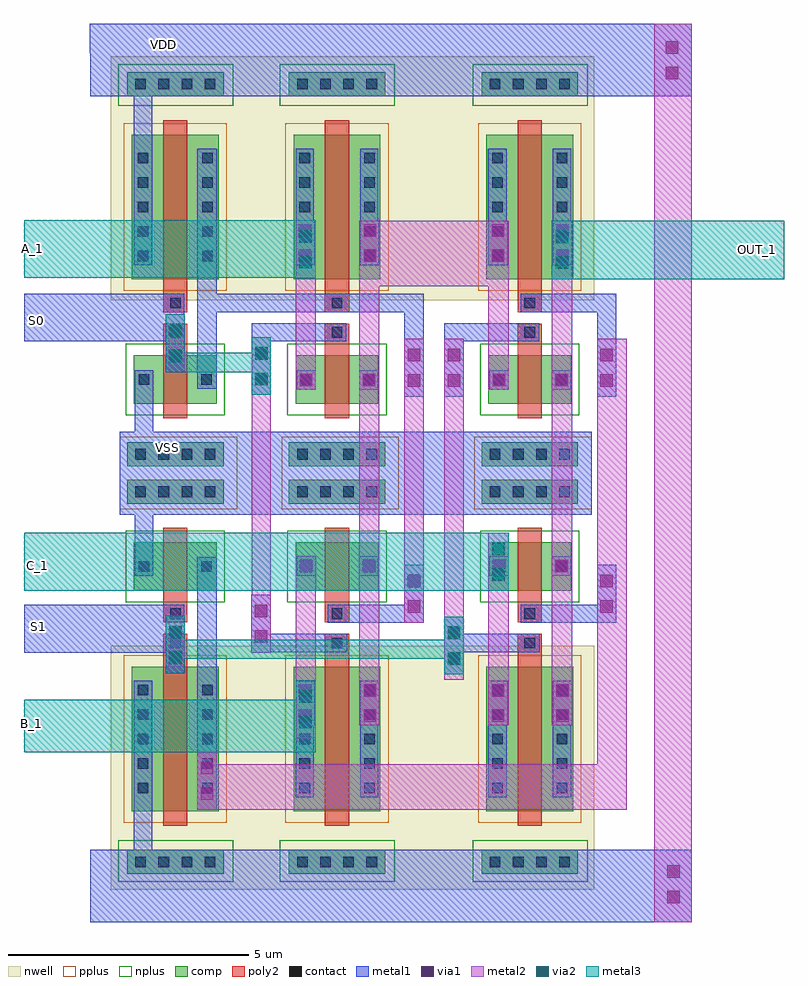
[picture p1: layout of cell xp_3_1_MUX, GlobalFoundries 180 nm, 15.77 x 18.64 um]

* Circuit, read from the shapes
.subckt xp_3_1_MUX A_1 B_1 C_1 OUT_1 S0 S1 VDD VSS
XM1 n1 S1 VSS VSS nfet_03v3 w=1u l=0.5u
XM2 n2 S0 VSS VSS nfet_03v3 w=1u l=0.5u
XM3 n3 n2 B_1 VSS nfet_03v3 w=1u l=0.5u
XM4 n3 S0 A_1 VSS nfet_03v3 w=1u l=0.5u
XM5 OUT_1 n1 C_1 VSS nfet_03v3 w=1u l=0.5u
XM6 OUT_1 S1 n3 VSS nfet_03v3 w=1u l=0.5u
XM7 n1 S1 VDD VDD pfet_03v3 w=3u l=0.5u
XM8 n2 S0 VDD VDD pfet_03v3 w=3u l=0.5u
XM9 n3 S0 B_1 VDD pfet_03v3 w=3u l=0.5u
XM10 n3 n2 A_1 VDD pfet_03v3 w=3u l=0.5u
XM11 OUT_1 S1 C_1 VDD pfet_03v3 w=3u l=0.5u
XM12 OUT_1 n1 n3 VDD pfet_03v3 w=3u l=0.5u
.ends

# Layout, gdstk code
from math import pi, radians
import gdstk
lib = gdstk.Library(unit=1e-6, precision=1e-09)
def R(c, l, rs):  # rectangles x0, y0, x1, y1
    for r in rs: c.add(gdstk.rectangle(r[:2], r[2:], *l))
def A(c, l, x, y, w, h, nx, ny, dx, dy):  # array of equal rectangles
    R(c, l, [(x+i*dx, y+j*dy, x+i*dx+w, y+j*dy+h) for i in range(nx) for j in range(ny)])
def P(c, l, *ps):  # polygons
    for p in ps: c.add(gdstk.Polygon(p, *l))
nwell = (21, 0)
comp = (22, 0)
poly2 = (30, 0)
pplus = (31, 0)
nplus = (32, 0)
contact = (33, 0)
metal1 = (34, 0)
via1 = (35, 0)
metal2 = (36, 0)
via2 = (38, 0)
metal3 = (42, 0)

pfet_255 = lib.new_cell('pfet$255')
R(pfet_255, nwell, [(-0.9,-0.44,1.78,3.44)])
R(pfet_255, comp, [(-0.46,0,0,3), (0,0,0.88,3), (0.88,0,1.34,3)])
R(pfet_255, poly2, [(0.19,-0.68,0.69,-0.3), (0.19,-0.3,0.69,3.3)])
R(pfet_255, pplus, [(-0.63,-0.24,1.51,3.24)])
A(pfet_255, contact, -0.34, 0.37, 0.22, 0.22, 1, 5, 0, 0.51)
A(pfet_255, contact, 1, 0.37, 0.22, 0.22, 1, 5, 0, 0.51)
R(pfet_255, contact, [(0.33,-0.6,0.55,-0.38)])
R(pfet_255, metal1, [(0.25,-0.68,0.63,-0.3), (-0.42,0.29,-0.04,2.71), (0.92,0.29,1.3,2.71)])

via_dev_808 = lib.new_cell('via_dev$808')
R(via_dev_808, comp, [(0,0,2,0.5)])
A(via_dev_808, contact, 0.17, 0.14, 0.22, 0.22, 4, 1, 0.48, 0)
R(via_dev_808, metal1, [(0,0,2,0.5)])

via_dev_809 = lib.new_cell('via_dev$809')
R(via_dev_809, metal1, [(0,0,0.4,1.2)])
R(via_dev_809, via1, [(0.07,0.205,0.33,0.465), (0.07,0.735,0.33,0.995)])
R(via_dev_809, metal2, [(0,0,0.4,1.2)])

via_dev_810 = lib.new_cell('via_dev$810')
R(via_dev_810, metal1, [(0,0,0.4,1.2)])
R(via_dev_810, via1, [(0.07,0.205,0.33,0.465), (0.07,0.735,0.33,0.995)])
R(via_dev_810, metal2, [(0,0,0.4,1.2)])
R(via_dev_810, via2, [(0.07,0.205,0.33,0.465), (0.07,0.735,0.33,0.995)])
R(via_dev_810, metal3, [(0,0,0.4,1.2)])

via_dev_811 = lib.new_cell('via_dev$811')
R(via_dev_811, metal2, [(0,0,0.42,1.2)])
R(via_dev_811, via2, [(0.08,0.205,0.34,0.465), (0.08,0.735,0.34,0.995)])
R(via_dev_811, metal3, [(0,0,0.42,1.2)])

via_dev_812 = lib.new_cell('via_dev$812')
R(via_dev_812, comp, [(0,0,2,0.5)])
A(via_dev_812, contact, 0.17, 0.14, 0.22, 0.22, 4, 1, 0.48, 0)
R(via_dev_812, metal1, [(0,0,2,0.5)])

nfet_274 = lib.new_cell('nfet$274')
R(nfet_274, comp, [(-0.42,0,0,1), (0,0,0.88,1), (0.88,0,1.3,1)])
R(nfet_274, poly2, [(0.19,-0.3,0.69,1.3), (0.19,1.3,0.69,1.66)])
R(nfet_274, nplus, [(-0.59,-0.24,1.47,1.24)])
R(nfet_274, contact, [(-0.32,0.39,-0.1,0.61), (0.98,0.39,1.2,0.61), (0.33,1.37,0.55,1.59)])
R(nfet_274, metal1, [(-0.4,0.31,-0.02,0.69), (0.9,0.31,1.28,0.69), (0.25,1.29,0.63,1.67)])

via_dev_813 = lib.new_cell('via_dev$813')
R(via_dev_813, metal1, [(0,0,0.4,0.4)])
R(via_dev_813, via1, [(0.07,0.07,0.33,0.33)])
R(via_dev_813, metal2, [(0,0,0.4,0.4)])

nfet_275 = lib.new_cell('nfet$275')
R(nfet_275, comp, [(-0.42,0,0,1), (0,0,0.88,1), (0.88,0,1.3,1)])
R(nfet_275, poly2, [(0.19,-0.3,0.69,1.3), (0.19,1.3,0.69,1.66)])
R(nfet_275, nplus, [(-0.59,-0.24,1.47,1.24)])
R(nfet_275, contact, [(-0.32,0.39,-0.1,0.61), (0.98,0.39,1.2,0.61), (0.33,1.37,0.55,1.59)])
R(nfet_275, metal1, [(-0.4,0.31,-0.02,0.69), (0.9,0.31,1.28,0.69), (0.25,1.29,0.63,1.67)])

via_dev_814 = lib.new_cell('via_dev$814')

pfet_256 = lib.new_cell('pfet$256')
R(pfet_256, nwell, [(-0.9,-0.44,1.78,3.44)])
R(pfet_256, comp, [(-0.46,0,0,3), (0,0,0.88,3), (0.88,0,1.34,3)])
R(pfet_256, poly2, [(0.19,-0.68,0.69,-0.3), (0.19,-0.3,0.69,3.3)])
R(pfet_256, pplus, [(-0.63,-0.24,1.51,3.24)])
A(pfet_256, contact, -0.34, 0.37, 0.22, 0.22, 1, 5, 0, 0.51)
A(pfet_256, contact, 1, 0.37, 0.22, 0.22, 1, 5, 0, 0.51)
R(pfet_256, contact, [(0.33,-0.6,0.55,-0.38)])
R(pfet_256, metal1, [(0.25,-0.68,0.63,-0.3), (-0.42,0.29,-0.04,2.71), (0.92,0.29,1.3,2.71)])

via_dev_815 = lib.new_cell('via_dev$815')
R(via_dev_815, metal1, [(0,0,1.1,0.4)])
R(via_dev_815, via1, [(0.155,0.07,0.415,0.33), (0.685,0.07,0.945,0.33)])
R(via_dev_815, metal2, [(0,0,1.1,0.4)])

xp_3_1_mux = lib.new_cell('xp_3_1_MUX')
R(xp_3_1_mux, nwell, [(-3.96,-8.105,6.075,-3.04), (-3.96,-8.105,-1.28,-6.92), (-0.605,-8.105,2.075,-6.92), (3.395,-8.105,6.075,-6.92), (-3.96,4.12,6.075,9.185), (-3.96,8,-1.28,9.185), (-0.605,8,2.075,9.185), (3.395,8,6.075,9.185)])
R(xp_3_1_mux, pplus, [(-3.77,-0.21,-1.335,0.54), (-0.415,-0.21,2.02,0.54), (3.585,-0.21,6.02,0.54), (-3.77,0.54,-1.335,1.29), (-0.415,0.54,2.02,1.29), (3.585,0.54,6.02,1.29)])
R(xp_3_1_mux, nplus, [(-3.805,-7.945,-1.42,-7.08), (-0.45,-7.945,1.935,-7.08), (3.55,-7.945,5.935,-7.08), (-3.805,8.16,-1.42,9.025), (-0.45,8.16,1.935,9.025), (3.55,8.16,5.935,9.025)])
R(xp_3_1_mux, metal1, [(-4.39,-8.78,6.075,-7.28), (-3.77,-8.78,-1.42,-7.28), (-0.415,-8.78,1.935,-7.28), (3.585,-8.78,5.935,-7.28), (6.075,-8.78,8.095,-7.28), (-3.77,-7.78,-3.62,-7.28), (-3.48,-7.78,-3.1,-3.77), (-0.415,-7.78,-0.265,-7.28), (3.585,-7.78,3.735,-7.28), (-2.16,-6.19,-1.76,-1.21), (0.25,-4.29,0.275,-4.17), (1.595,-4.29,1.615,-4.17), (4.25,-4.29,4.275,-4.17), (5.595,-4.29,5.615,-4.17), (-5.76,-3.19,-2.43,-2.19), (-2.81,-3.18,-2.43,-2.19), (-3.46,-1.59,-3.08,0.4), (-3.77,-0.33,6.02,1.4), (-3.77,-0.32,-1.34,1.18), (-0.415,-0.32,2.015,1.18), (3.585,-0.32,6.015,1.18), (-3.77,-0.1,-3.62,0.4), (-3.77,-0.1,-1.34,1.4), (-0.415,-0.1,-0.265,0.4), (-0.415,-0.1,2.015,1.4), (3.585,-0.1,3.735,0.4), (3.585,-0.1,6.015,1.4), (-3.77,0.68,-3.62,1.18), (-3.46,0.68,-3.08,2.67), (-0.415,0.68,-0.265,1.18), (3.585,0.68,3.735,1.18), (-2.16,2.29,-1.76,7.27), (-5.76,3.27,-2.43,4.26), (-2.81,3.27,-2.43,4.26), (-3.48,4.85,-3.1,8.86), (0.25,5.25,0.275,5.37), (1.595,5.25,1.615,5.37), (4.25,5.25,4.275,5.37), (5.595,5.25,5.615,5.37), (-3.77,8.36,-3.62,8.86), (-3.77,8.36,-1.42,9.86), (-0.415,8.36,-0.265,8.86), (-0.415,8.36,1.935,9.86), (3.585,8.36,3.735,8.86), (3.585,8.36,5.935,9.86), (5.935,8.36,8.095,9.86)])
P(xp_3_1_mux, metal1, [(-4.39,8.36),(-4.39,9.255),(-4.395,9.255),(-4.395,9.86),(5.935,9.86),(5.935,8.36)])
R(xp_3_1_mux, metal2, [(7.32,-8.78,8.095,9.86), (-1.76,-6.45,6.53,-5.5), (6.53,-6.45,6.75,3.325), (-0.125,-4.69,0.295,-1.19), (1.195,-4.69,1.615,-1.19), (3.875,-4.69,4.295,-1.19), (5.195,-4.69,5.615,-1.19), (1.595,-4.29,1.615,-4.17), (5.595,-4.29,5.615,-4.17), (-0.125,2.27,0.295,5.77), (1.195,2.27,1.615,5.77), (3.875,2.27,4.295,5.77), (5.195,2.27,5.615,5.77), (1.615,4.915,3.875,5.77), (1.595,5.25,1.615,5.37), (5.595,5.25,5.615,5.37)])
R(xp_3_1_mux, metal3, [(-5.76,-5.25,0.295,-4.165), (-5.76,-1.9,4.295,-0.7), (5.195,4.565,10.01,5.77), (-5.76,4.595,0.295,5.785)])
xp_3_1_mux.add(gdstk.FlexPath([(0.545,-2.38),(2.53,-2.38)], 0.38, ends="flush", simple_path=True, layer=34, datatype=0))  # metal1
xp_3_1_mux.add(gdstk.FlexPath([(-1.04,-2.99),(0.945,-2.99)], 0.38, ends="flush", simple_path=True, layer=34, datatype=0))  # metal1
xp_3_1_mux.add(gdstk.FlexPath([(4.545,-2.38),(6.53,-2.38)], 0.38, ends="flush", simple_path=True, layer=34, datatype=0))  # metal1
xp_3_1_mux.add(gdstk.FlexPath([(2.96,-2.99),(4.945,-2.99)], 0.38, ends="flush", simple_path=True, layer=34, datatype=0))  # metal1
xp_3_1_mux.add(gdstk.FlexPath([(-2.43,-2.6),(-4.82,-2.6)], 0.4, ends="flush", simple_path=True, layer=34, datatype=0))  # metal1
xp_3_1_mux.add(gdstk.FlexPath([(2.965,3.46),(4.93,3.46)], 0.38, ends="flush", simple_path=True, layer=34, datatype=0))  # metal1
xp_3_1_mux.add(gdstk.FlexPath([(4.545,4.07),(6.53,4.07)], 0.38, ends="flush", simple_path=True, layer=34, datatype=0))  # metal1
xp_3_1_mux.add(gdstk.FlexPath([(-2.16,4.07),(2.53,4.07)], 0.38, ends="flush", simple_path=True, layer=34, datatype=0))  # metal1
xp_3_1_mux.add(gdstk.FlexPath([(-1.035,3.46),(0.93,3.46)], 0.38, ends="flush", simple_path=True, layer=34, datatype=0))  # metal1
xp_3_1_mux.add(gdstk.FlexPath([(2.33,2.755),(2.33,4.06)], 0.4, ends="flush", simple_path=True, layer=34, datatype=0))  # metal1
xp_3_1_mux.add(gdstk.FlexPath([(6.33,2.755),(6.33,4.06)], 0.4, ends="flush", simple_path=True, layer=34, datatype=0))  # metal1
xp_3_1_mux.add(gdstk.FlexPath([(-2.43,3.75),(-4.565,3.75)], 0.4, ends="flush", simple_path=True, layer=34, datatype=0))  # metal1
xp_3_1_mux.add(gdstk.FlexPath([(6.53,-5.975),(-2.14,-5.975)], 0.4, ends="flush", simple_path=True, layer=36, datatype=0))  # metal2
xp_3_1_mux.add(gdstk.FlexPath([(2.33,-2.565),(2.33,3.02)], 0.4, ends="flush", simple_path=True, layer=36, datatype=0))  # metal2
xp_3_1_mux.add(gdstk.FlexPath([(5.405,2.27),(5.405,-2.32)], 0.42, ends="flush", simple_path=True, layer=36, datatype=0))  # metal2
xp_3_1_mux.add(gdstk.FlexPath([(1.405,2.27),(1.405,-2.32)], 0.42, ends="flush", simple_path=True, layer=36, datatype=0))  # metal2
xp_3_1_mux.add(gdstk.FlexPath([(-0.835,-2.81),(-0.835,2.88),(-0.835,2.88)], 0.4, ends="flush", simple_path=True, layer=36, datatype=0))  # metal2
xp_3_1_mux.add(gdstk.FlexPath([(6.33,-6.085),(6.33,3.02)], 0.4, ends="flush", simple_path=True, layer=36, datatype=0))  # metal2
xp_3_1_mux.add(gdstk.FlexPath([(3.165,-3.75),(3.165,2.88)], 0.4, ends="flush", simple_path=True, layer=36, datatype=0))  # metal2
xp_3_1_mux.add(gdstk.FlexPath([(1.195,4.665),(4.295,4.665)], 0.5, ends="flush", simple_path=True, layer=36, datatype=0))  # metal2
xp_3_1_mux.add(gdstk.FlexPath([(5.195,5.155),(6.68,5.155)], 0.4, ends="flush", simple_path=True, layer=42, datatype=0))  # metal3
xp_3_1_mux.add(gdstk.FlexPath([(-2.82,-3.115),(3.36,-3.115)], 0.4, ends="flush", simple_path=True, layer=42, datatype=0))  # metal3
xp_3_1_mux.add(gdstk.FlexPath([(4.295,-1.12),(-4.835,-1.12)], 0.4, ends="flush", simple_path=True, layer=42, datatype=0))  # metal3
xp_3_1_mux.add(gdstk.FlexPath([(0.295,-4.365),(-4.64,-4.365)], 0.4, ends="flush", simple_path=True, layer=42, datatype=0))  # metal3
xp_3_1_mux.add(gdstk.FlexPath([(-2.75,2.835),(-0.635,2.835)], 0.4, ends="flush", simple_path=True, layer=42, datatype=0))  # metal3
xp_3_1_mux.add(gdstk.FlexPath([(0.255,5.23),(-4.55,5.23)], 0.4, ends="flush", simple_path=True, layer=42, datatype=0))  # metal3
xp_3_1_mux.add(gdstk.Reference(pfet_255, (4.295,4.56)))
xp_3_1_mux.add(gdstk.Reference(pfet_255, (0.295,-3.48), x_reflection=True))
xp_3_1_mux.add(gdstk.Reference(pfet_255, (4.295,-3.48), x_reflection=True))
xp_3_1_mux.add(gdstk.Reference(via_dev_808, (-3.62,8.36)))
xp_3_1_mux.add(gdstk.Reference(via_dev_809, (6.13,-2.565)))
xp_3_1_mux.add(gdstk.Reference(via_dev_808, (-3.62,-7.28), x_reflection=True))
xp_3_1_mux.add(gdstk.Reference(via_dev_809, (2.13,-2.565)))
xp_3_1_mux.add(gdstk.Reference(via_dev_809, (2.13,2.125)))
xp_3_1_mux.add(gdstk.Reference(via_dev_809, (-1.04,-3.19)))
xp_3_1_mux.add(gdstk.Reference(via_dev_810, (-1.035,2.16)))
xp_3_1_mux.add(gdstk.Reference(via_dev_809, (6.13,2.125)))
xp_3_1_mux.add(gdstk.Reference(via_dev_810, (2.96,-3.64)))
xp_3_1_mux.add(gdstk.Reference(via_dev_809, (2.965,2.125)))
xp_3_1_mux.add(gdstk.Reference(via_dev_810, (-2.82,2.635)))
xp_3_1_mux.add(gdstk.Reference(via_dev_810, (-2.82,-3.62)))
xp_3_1_mux.add(gdstk.Reference(via_dev_809, (-2.16,-6.45)))
xp_3_1_mux.add(gdstk.Reference(via_dev_811, (3.875,-1.9)))
xp_3_1_mux.add(gdstk.Reference(via_dev_811, (5.195,4.57)))
xp_3_1_mux.add(gdstk.Reference(via_dev_811, (-0.125,4.585)))
xp_3_1_mux.add(gdstk.Reference(via_dev_811, (-0.125,-4.965)))
xp_3_1_mux.add(gdstk.Reference(pfet_255, (0.295,4.56)))
xp_3_1_mux.add(gdstk.Reference(via_dev_812, (-0.265,8.36)))
xp_3_1_mux.add(gdstk.Reference(via_dev_812, (-0.265,0.68)))
xp_3_1_mux.add(gdstk.Reference(nfet_274, (0.295,1.98)))
xp_3_1_mux.add(gdstk.Reference(via_dev_813, (-0.105,2.27)))
xp_3_1_mux.add(gdstk.Reference(via_dev_813, (1.195,2.27)))
xp_3_1_mux.add(gdstk.Reference(via_dev_813, (1.215,4.85)))
xp_3_1_mux.add(gdstk.Reference(via_dev_813, (1.215,5.37)))
xp_3_1_mux.add(gdstk.Reference(via_dev_813, (-0.125,4.85)))
xp_3_1_mux.add(gdstk.Reference(via_dev_813, (-0.125,5.37)))
xp_3_1_mux.add(gdstk.Reference(via_dev_812, (3.735,8.36)))
xp_3_1_mux.add(gdstk.Reference(via_dev_812, (3.735,0.68)))
xp_3_1_mux.add(gdstk.Reference(nfet_274, (4.295,1.98)))
xp_3_1_mux.add(gdstk.Reference(via_dev_813, (3.895,2.27)))
xp_3_1_mux.add(gdstk.Reference(via_dev_813, (5.195,2.27)))
xp_3_1_mux.add(gdstk.Reference(via_dev_813, (5.215,4.85)))
xp_3_1_mux.add(gdstk.Reference(via_dev_813, (5.215,5.37)))
xp_3_1_mux.add(gdstk.Reference(via_dev_813, (3.875,4.85)))
xp_3_1_mux.add(gdstk.Reference(via_dev_813, (3.875,5.37)))
xp_3_1_mux.add(gdstk.Reference(via_dev_812, (-0.265,-7.28), x_reflection=True))
xp_3_1_mux.add(gdstk.Reference(via_dev_812, (-0.265,0.4), x_reflection=True))
xp_3_1_mux.add(gdstk.Reference(nfet_274, (0.295,-0.9), x_reflection=True))
xp_3_1_mux.add(gdstk.Reference(via_dev_813, (-0.105,-1.19), x_reflection=True))
xp_3_1_mux.add(gdstk.Reference(via_dev_813, (1.195,-1.19), x_reflection=True))
xp_3_1_mux.add(gdstk.Reference(via_dev_813, (1.215,-3.77), x_reflection=True))
xp_3_1_mux.add(gdstk.Reference(via_dev_813, (1.215,-4.29), x_reflection=True))
xp_3_1_mux.add(gdstk.Reference(via_dev_813, (-0.125,-3.77), x_reflection=True))
xp_3_1_mux.add(gdstk.Reference(via_dev_813, (-0.125,-4.29), x_reflection=True))
xp_3_1_mux.add(gdstk.Reference(via_dev_812, (3.735,-7.28), x_reflection=True))
xp_3_1_mux.add(gdstk.Reference(via_dev_812, (3.735,0.4), x_reflection=True))
xp_3_1_mux.add(gdstk.Reference(nfet_274, (4.295,-0.9), x_reflection=True))
xp_3_1_mux.add(gdstk.Reference(via_dev_813, (3.895,-1.19), x_reflection=True))
xp_3_1_mux.add(gdstk.Reference(via_dev_813, (5.195,-1.19), x_reflection=True))
xp_3_1_mux.add(gdstk.Reference(via_dev_813, (5.215,-3.77), x_reflection=True))
xp_3_1_mux.add(gdstk.Reference(via_dev_813, (5.215,-4.29), x_reflection=True))
xp_3_1_mux.add(gdstk.Reference(via_dev_813, (3.875,-3.77), x_reflection=True))
xp_3_1_mux.add(gdstk.Reference(via_dev_813, (3.875,-4.29), x_reflection=True))
xp_3_1_mux.add(gdstk.Reference(via_dev_808, (-3.62,0.68)))
xp_3_1_mux.add(gdstk.Reference(nfet_275, (-3.06,1.98)))
xp_3_1_mux.add(gdstk.Reference(via_dev_814, (-4.42,0.09), rotation=pi/2))
xp_3_1_mux.add(gdstk.Reference(pfet_256, (-3.06,4.56)))
xp_3_1_mux.add(gdstk.Reference(via_dev_808, (-3.62,0.4), x_reflection=True))
xp_3_1_mux.add(gdstk.Reference(nfet_275, (-3.06,-0.9), x_reflection=True))
xp_3_1_mux.add(gdstk.Reference(via_dev_814, (-4.42,0.99), rotation=3*pi/2, x_reflection=True))
xp_3_1_mux.add(gdstk.Reference(pfet_256, (-3.06,-3.48), x_reflection=True))
xp_3_1_mux.add(gdstk.Reference(via_dev_815, (7.89,8.555), rotation=pi/2))
xp_3_1_mux.add(gdstk.Reference(via_dev_815, (7.915,-8.54), rotation=pi/2))
xp_3_1_mux.add(gdstk.Label('S0', (-5.5,3.71), layer=34, texttype=10))
xp_3_1_mux.add(gdstk.Label('S1', (-5.46,-2.65), layer=34, texttype=10))
xp_3_1_mux.add(gdstk.Label('VDD', (-2.87,9.435), layer=34, texttype=10))
xp_3_1_mux.add(gdstk.Label('VSS', (-2.79,1.07), layer=34, texttype=10))
xp_3_1_mux.add(gdstk.Label('OUT_1', (9.46,5.17), layer=42, texttype=10))
xp_3_1_mux.add(gdstk.Label('C_1', (-5.475,-1.375), layer=42, texttype=10))
xp_3_1_mux.add(gdstk.Label('B_1', (-5.6,-4.655), layer=42, texttype=10))
xp_3_1_mux.add(gdstk.Label('A_1', (-5.585,5.19), layer=42, texttype=10))

lib.write_gds('xp_3_1_MUX.gds')
